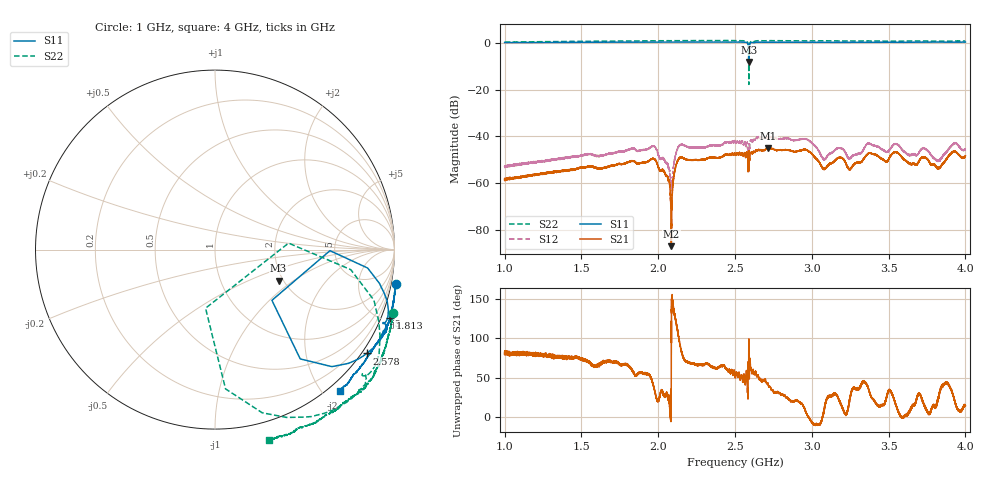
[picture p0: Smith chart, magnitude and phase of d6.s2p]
!Agilent Technologies,N5230C,SG49000117,A.08.50.07
!Agilent N5230C: A.08.50.07
!Date: Friday, May 17, 2024 22:50:36
!Correction: S11(Full 2 Port(1,2))
!S21(Full 2 Port(1,2))
!S12(Full 2 Port(1,2))
!S22(Full 2 Port(1,2))
!S2P File: Measurements: S11, S21, S12, S22:
# Hz S  MA  R 50
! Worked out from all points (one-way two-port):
!   20001 points, 1 GHz to 4 GHz, reference 50 ohm
!   highest |S21| = -44.92 dB at 2.716 GHz (marker M1); lowest = -87.1 dB at 2.086 GHz (marker M2)
!   lowest |S11| = -8.1 dB at 2.59 GHz (marker M3), VSWR 2.30, Z = 94.6 - j38.6 ohm
!   |S11| at or under -10 dB: nowhere
!   |S22| runs from -17.7 to 1.1 dB; largest |S21 - S12| = 0.0054
!   S11 on the Smith chart (normalised r, x): 1 GHz: -1, -10; 1.813 GHz: -0.66, -5.24; 2.578 GHz: -0.14, -3.22; 4 GHz: -0.15, -2.20
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1e9  1.026 -10.8  0.001165 79.9  0.002327 75.1  1.054 -19.6
1.5001e9  1.038 -18.0  0.002096 75.0  0.003862 59.6  1.09 -29.1
1.81315e9  1.047 -21.3  0.002891 63.6  0.00527 48.9  1.115 -34.1
2.00005e9  1.048 -23.3  0.002262 19.3  0.004031 2.2  1.121 -37.4
2.05855e9  1.049 -23.7  0.001436 29.3  0.002625 10.2  1.125 -37.8
2.08555e9  1.049 -23.8  4.441e-05 93.5  8.293e-05 36.3  1.125 -37.9
2.11405e9  1.047 -24.0  0.002253 123.8  0.004097 106.3  1.127 -38.1
2.14375e9  1.049 -24.3  0.003538 90.7  0.006605 74.2  1.126 -38.4
2.5e9  1.051 -27.1  0.004359 52.0  0.008042 30.1  1.131 -45.3
2.5777e9  1.024 -34.4  0.004297 46.7  0.007094 20.3  1.085 -58.1
2.5897e9  0.3942 -26.0  0.002377 96.8  0.002771 88.6  0.1909 -88.1
2.60845e9  1.034 -21.7  0.004569 58.0  0.008235 40.2  1.103 -36.8
2.71585e9  1.047 -26.3  0.005672 41.1  0.009584 19.0  1.126 -44.8
3.0001e9  1.04 -30.8  0.004263 -6.1  0.007269 -29.6  1.117 -51.4
3.0802e9  1.04 -32.1  0.002006 9.0  0.003277 -15.2  1.121 -52.9
3.25015e9  1.039 -35.8  0.002015 25.2  0.003483 -0.8  1.115 -58.0
3.36985e9  1.041 -38.0  0.004376 35.4  0.00707 5.9  1.114 -60.5
3.50005e9  1.042 -40.0  0.003246 33.7  0.004878 1.9  1.1 -64.1
3.7321e9  1.049 -44.7  0.003523 14.4  0.005476 -13.8  1.103 -69.0
3.81985e9  1.052 -45.8  0.002143 20.3  0.002936 -7.2  1.101 -71.6
3.92695e9  1.047 -47.7  0.004767 22.2  0.007055 -1.2  1.103 -73.5
4e9  1.051 -48.7  0.003826 13.9  0.005506 -15.7  1.105 -74.0
